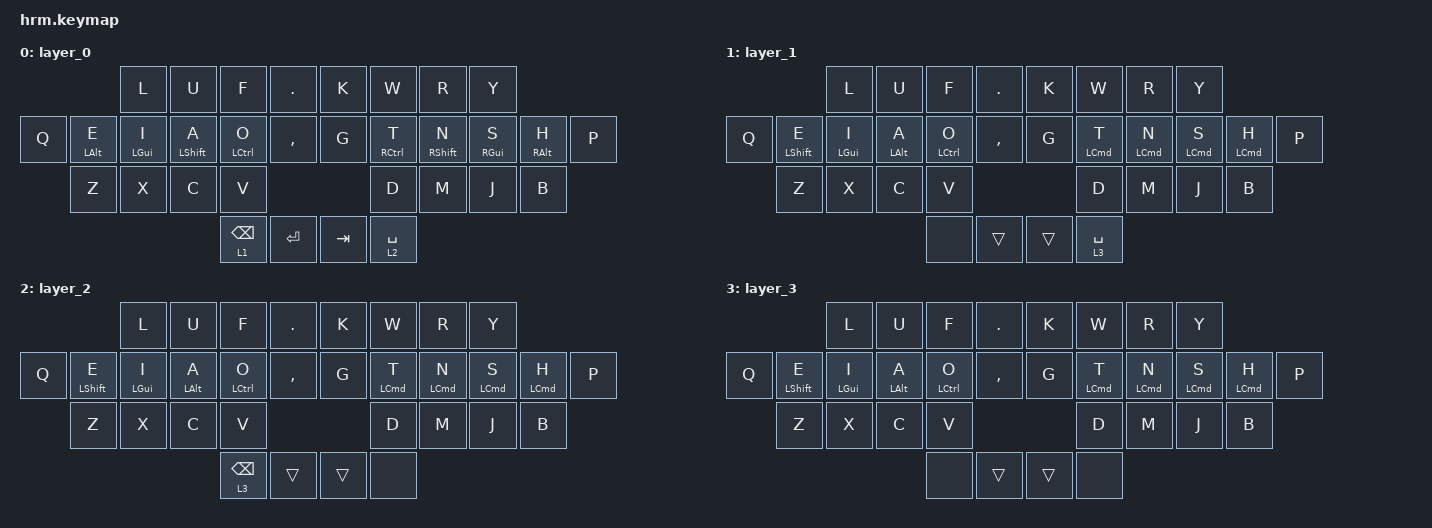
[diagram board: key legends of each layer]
#include <behaviors.dtsi>
#include <dt-bindings/zmk/keys.h>
#include <dt-bindings/zmk/bt.h>

&mt {
    tapping-term-ms = <175>;
    flavor = "tap-preferred";
};

&lt {
    tapping-term-ms = <175>;
    flavor = "balanced";
};

/ {
   keymap {
      compatible = "zmk,keymap";

      layer_0 {
         bindings = <
                        &kp L       &kp U       &kp F       &kp DOT             &kp K       &kp W       &kp R       &kp Y
&kp Q       &mt LALT E  &mt LGUI I  &mt LSHFT A &mt LCTRL O &kp COMMA           &kp G       &mt RCTRL T &mt RSHFT N &mt RGUI S  &mt RALT H  &kp P
            &kp Z       &kp X       &kp C       &kp V                                       &kp D       &kp M       &kp J       &kp B
                                                &lt 1 BSPC  &kp ENTER           &kp TAB     &lt 2 SPACE
         >;
      };

      layer_1 {
         bindings = <
                        &kp L       &kp U       &kp F       &kp DOT             &kp K       &kp W       &kp R       &kp Y
&kp Q       &mt LSHFT E &mt LGUI I  &mt LALT A  &mt LCTRL O &kp COMMA           &kp G       &mt LCMD T  &mt LCMD N  &mt LCMD S  &mt LCMD H  &kp P
            &kp Z       &kp X       &kp C       &kp V                                       &kp D       &kp M       &kp J       &kp B
                                                &none       &trans              &trans      &lt 3 SPACE
         >;
      };

      layer_2 {
         bindings = <
                        &kp L       &kp U       &kp F       &kp DOT             &kp K       &kp W       &kp R       &kp Y
&kp Q       &mt LSHFT E &mt LGUI I  &mt LALT A  &mt LCTRL O &kp COMMA           &kp G       &mt LCMD T  &mt LCMD N  &mt LCMD S  &mt LCMD H  &kp P
            &kp Z       &kp X       &kp C       &kp V                                       &kp D       &kp M       &kp J       &kp B
                                                &lt 3 BSPC  &trans              &trans      &none
         >;
      };

      layer_3 {
         bindings = <
                        &kp L       &kp U       &kp F       &kp DOT             &kp K       &kp W       &kp R       &kp Y
&kp Q       &mt LSHFT E &mt LGUI I  &mt LALT A  &mt LCTRL O &kp COMMA           &kp G       &mt LCMD T  &mt LCMD N  &mt LCMD S  &mt LCMD H  &kp P
            &kp Z       &kp X       &kp C       &kp V                                       &kp D       &kp M       &kp J       &kp B
                                                &none       &trans              &trans      &none
         >;
      };
   };
};
